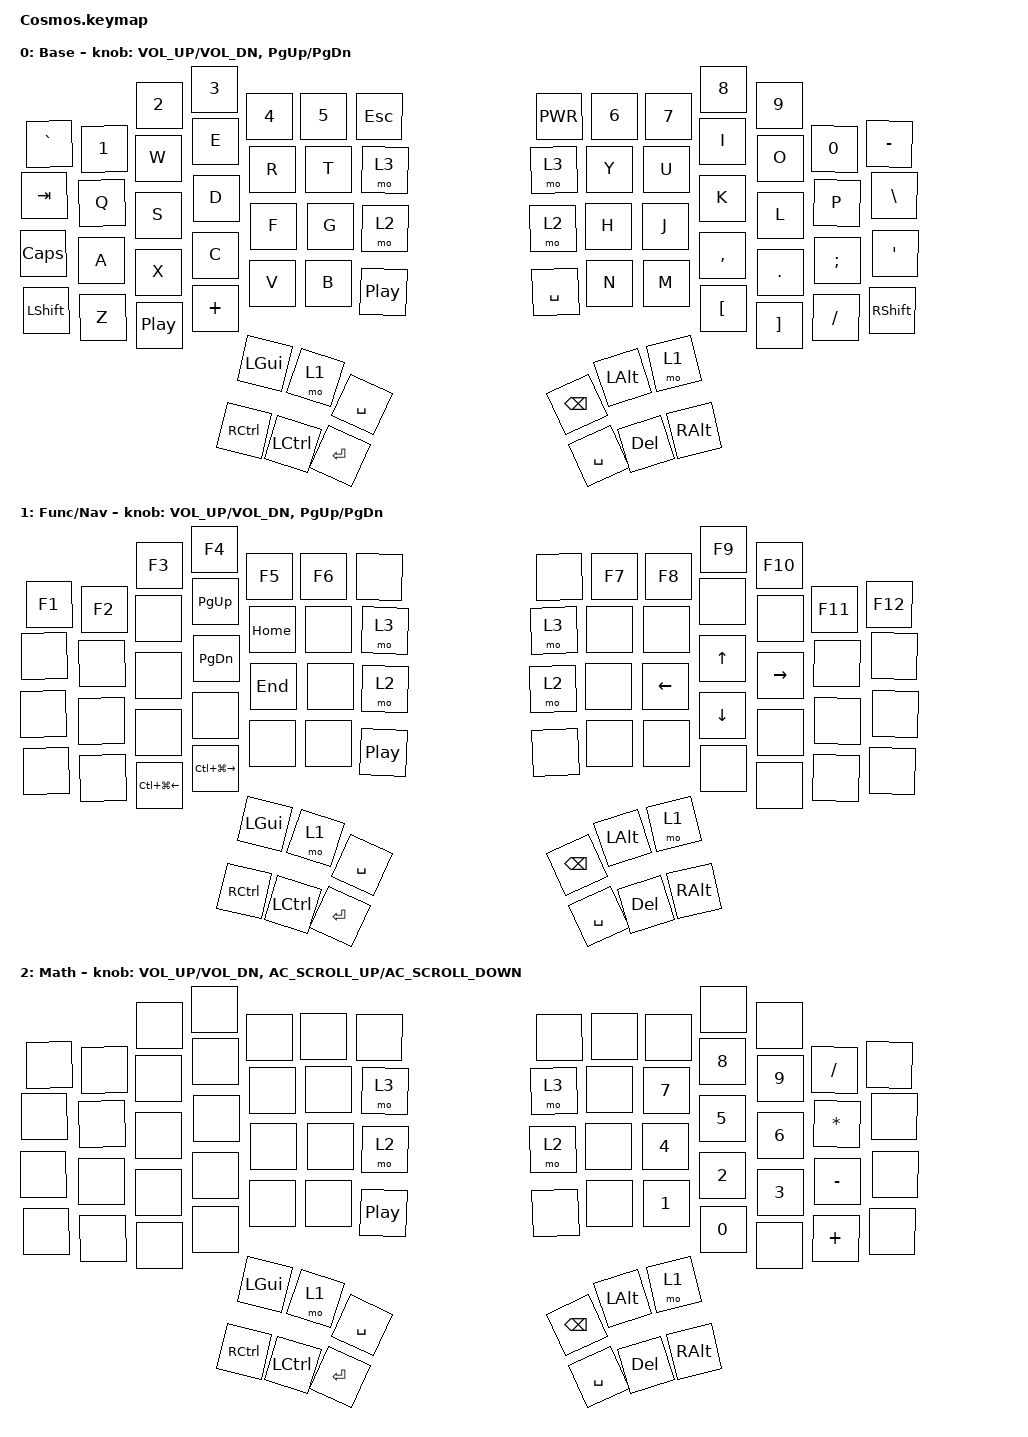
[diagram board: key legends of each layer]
#include <behaviors.dtsi>
#include <dt-bindings/zmk/keys.h>


/ {
    keymap {
        compatible = "zmk,keymap";
        default_layer { // Layer 0
            display-name = "Base";  
            bindings = <
            &kp GRAVE &kp N1 &kp N2 &kp N3 &kp N4 &kp N5 &kp ESC                &kp K_PWR &kp N6 &kp N7 &kp N8 &kp N9 &kp N0 &kp MINUS 
            &kp TAB &kp Q &kp W &kp E &kp R &kp T &mo 3                         &mo 3 &kp Y &kp U &kp I &kp O &kp P &kp BSLH 
            &kp CAPS &kp A &kp S &kp D &kp F &kp G &mo 2                        &mo 2 &kp H &kp J &kp K &kp L &kp SEMI &kp SQT 
            &kp LSHFT &kp Z &kp X &kp C &kp V &kp B &kp C_PP                   &kp SPACE &kp N &kp M &kp COMMA &kp DOT &kp FSLH &kp RSHFT 
            &kp C_PP &kp PLUS                                                   &kp LBKT &kp RBKT 
            &mo 1 &kp SPACE &kp BSPC &kp LALT &kp LCTRL &kp LGUI                &kp ENTER &kp SPACE &mo 1 &kp DEL &kp RCTRL &kp RALT
            >;
            sensor-bindings = <
            &inc_dec_kp C_VOL_UP C_VOL_DN 
            &inc_dec_kp PG_UP PG_DN
            >;
        };
       fnnav { // Layer 1
            display-name = "Func/Nav";
            bindings = <
            &kp F1 &kp F2 &kp F3 &kp F4 &kp F5 &kp F6 &none                     &none &kp F7 &kp F8 &kp F9 &kp F10 &kp F11 &kp F12 
            &none &none &none &kp PG_UP &kp HOME &none &mo 3                    &mo 3 &none &none &none &none &none &none 
            &none &none &none &kp PG_DN &kp END &none &mo 2                     &mo 2 &none &kp LEFT &kp UP &kp RIGHT &none &none 
            &none &none &none &none &none &none &kp C_PP                        &none &none &none &kp DOWN &none &none &none 
            &kp LC(LG(LEFT)) &kp LC(LG(RIGHT))                                  &none &none 
            &mo 1 &kp SPACE &kp BSPC &kp LALT &kp LCTRL &kp LGUI                &kp ENTER &kp SPACE &mo 1 &kp DEL &kp RCTRL &kp RALT
            >;
            sensor-bindings = <
            &inc_dec_kp C_VOL_UP C_VOL_DN 
            &inc_dec_kp PG_UP PG_DN
            >;
        };
        math { // Layer 2
            display-name = "Math";
            bindings = <
            &none &none &none &none &none &none &none                           &none &none &none &none &none &kp FSLH &none 
            &none &none &none &none &none &none &mo 3                           &mo 3 &none &kp N7 &kp N8 &kp N9 &kp ASTRK &none 
            &none &none &none &none &none &none &mo 2                           &mo 2 &none &kp N4 &kp N5 &kp N6 &kp MINUS &none 
            &none &none &none &none &none &none &kp C_PP                        &none &none &kp N1 &kp N2 &kp N3 &kp PLUS &none 
            &none &none                                                         &kp N0 &none 
            &mo 1 &kp SPACE &kp BSPC &kp LALT &kp LCTRL &kp LGUI                &kp ENTER &kp SPACE &mo 1 &kp DEL &kp RCTRL &kp RALT
            >;
            sensor-bindings = <
            &inc_dec_kp C_VOL_UP C_VOL_DN 
            &inc_dec_kp C_AC_SCROLL_UP C_AC_SCROLL_DOWN
            >;
        };

        extra1 {
            status = "reserved";
        };

        extra2 {
            status = "reserved";
        };

        extra3 {
            status = "reserved";
        };
    };
};
